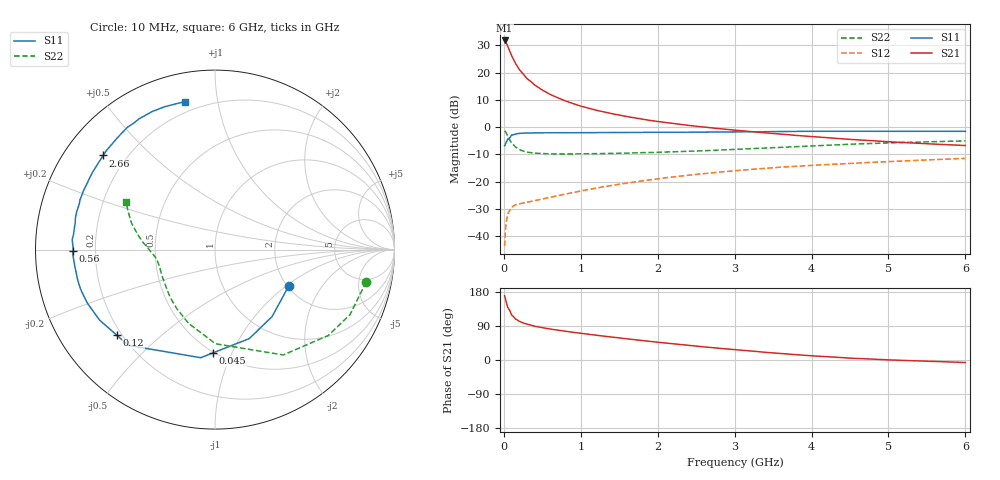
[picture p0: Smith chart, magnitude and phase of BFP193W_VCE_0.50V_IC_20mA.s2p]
! Infineon Technologies  Discrete & RF Semiconductors
! BFP193W
! VCE = 0.50V,  IC =  20 mA
! Common Emitter S-Parameters:  Jan 2016
# GHz  S  MA  R  50
!  f  S11  S21  S12  S22
! GHz  MAG  ANG  MAG  ANG  MAG  ANG  MAG  ANG
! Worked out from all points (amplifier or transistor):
!   210 points, 10 MHz to 6 GHz, reference 50 ohm
!   highest |S21| = 31.8 dB at 10 MHz (marker M1)
!   |S21| within 3 dB of that: start of sweep to 63.25 MHz
!   unconditionally stable (mu >= 1): 681.3 MHz to end of sweep
!   at 185 MHz: K = 0.40, MSG = 25.1 dB, |S12| = -28.2 dB
!   at 1.52 GHz: K = 1.27, MAG = 9.4 dB, |S12| = -20.8 dB
!   at 6 GHz: K = 1.14, MAG = 0.1 dB, |S12| = -11.4 dB
!   S11 on the Smith chart (normalised r, x): 10 MHz: 2.04, -1.04; 45 MHz: 0.49, -0.85; 120 MHz: 0.18, -0.36; 560 MHz: 0.12, -0.00; 2.66 GHz: 0.12, +0.36; 6 GHz: 0.14, +0.81
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0.01  0.4581 -26.2  38.95 169.6  0.0066 79.7  0.8609 -12.1
0.02  0.4902 -49.5  37.49 161.1  0.0126 71.8  0.835 -25.7
0.03  0.5313 -68.9  35.61 152.9  0.0179 65.7  0.7919 -37.2
0.045  0.5757 -91.2  31.55 142.9  0.0236 55.6  0.7138 -51.7
0.05  0.6074 -97.5  30.45 139.0  0.0256 53.2  0.6993 -57.1
0.1  0.7194 -132.1  20.6 119.1  0.0343 37.9  0.5246 -89.7
0.12  0.7257 -138.9  18.24 115.6  0.0356 35.4  0.4822 -96.9
0.15  0.7536 -148.6  14.88 108.3  0.0377 31.9  0.4359 -109.9
0.2  0.771 -157.2  11.49 102.1  0.0393 30.1  0.391 -123.1
0.24  0.778 -162.0  9.785 98.7  0.0406 30.3  0.371 -130.4
0.3  0.7834 -167.3  7.838 94.5  0.0421 31.1  0.3501 -139.2
0.4  0.7869 -173.4  5.948 89.2  0.045 33.1  0.3353 -148.2
0.56  0.7909 -179.6  4.317 83.3  0.0504 37.7  0.3267 -156.6
0.8  0.7925 173.6  3.028 75.7  0.0595 43.1  0.3231 -163.5
1.02  0.7935 168.8  2.397 70.0  0.0685 46.3  0.3261 -167.3
1.4  0.7977 161.4  1.776 60.6  0.0855 49.3  0.3331 -171.2
2.02  0.8047 150.3  1.264 46.5  0.1144 49.6  0.348 -175.9
2.66  0.8143 139.9  0.987 33.5  0.144 46.9  0.3733 178.8
3.1  0.8234 133.0  0.86 25.7  0.1637 44.1  0.3965 175.1
4.1  0.8424 119.0  0.658 10.0  0.2034 37.0  0.4605 165.8
5.1  0.8432 108.7  0.532 -0.4  0.2378 30.3  0.5216 157.2
6  0.8408 101.3  0.462 -6.6  0.2689 24.8  0.562 151.6
